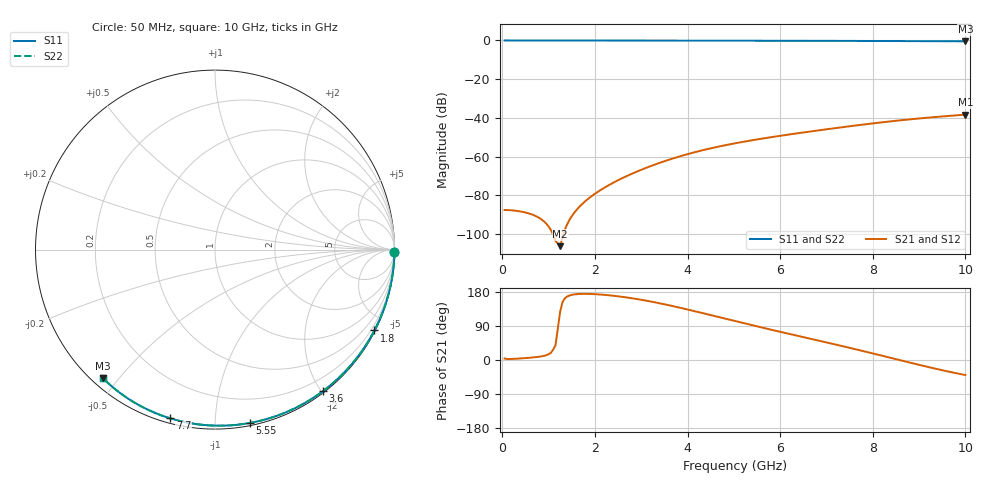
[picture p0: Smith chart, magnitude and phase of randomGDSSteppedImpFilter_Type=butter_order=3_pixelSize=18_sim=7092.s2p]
! freq	dB(S11)	phase(S11)	dB(S12)	phase(S12)
!  dB(S21)	phase(S21)	dB(S22)	phase(S22)
!S-par simulation data
#  GHz  S  DB  R 50
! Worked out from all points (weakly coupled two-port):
!   200 points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, 50 MHz to 10 GHz, reference 50 ohm
!   highest |S21| = -38.34 dB at 10 GHz (marker M1); lowest = -106.4 dB at 1.25 GHz (marker M2)
!   lowest |S11| = -0.4 dB at 10 GHz (marker M3), VSWR 39.19, Z = 1.54 - j22.7 ohm
!   |S11| at or under -10 dB: nowhere
!   |S22| runs from -0.4 to 0.0 dB; largest |S21 - S12| = 0
!   S11 on the Smith chart (normalised r, x): 50 MHz: open; 1.8 GHz: 0.04, -4.18; 3.6 GHz: 0.02, -2.02; 5.55 GHz: 0.02, -1.22; 7.7 GHz: 0.02, -0.77; 10 GHz: 0.03, -0.45
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0.05  -0.00 -0.8  -87.66 4.0  -87.66 4.0  -0.00 -0.8
0.65  -0.01 -9.8  -90.05 6.6  -90.05 6.6  -0.01 -9.8
1.25  -0.02 -18.8  -106.35 128.2  -106.35 128.2  -0.02 -18.8
1.75  -0.03 -26.1  -84.01 174.6  -84.01 174.6  -0.03 -26.1
1.8  -0.03 -26.9  -82.94 174.6  -82.94 174.6  -0.03 -26.9
1.95  -0.04 -29.1  -80.12 174.1  -80.12 174.1  -0.04 -29.1
2.25  -0.04 -33.4  -75.48 171.4  -75.48 171.4  -0.04 -33.4
2.55  -0.05 -37.8  -71.66 167.3  -71.66 167.3  -0.05 -37.8
2.95  -0.06 -43.5  -67.35 160.0  -67.35 160.0  -0.06 -43.5
3.4  -0.07 -49.8  -63.26 149.6  -63.26 149.6  -0.07 -49.8
3.6  -0.07 -52.6  -61.65 144.5  -61.65 144.5  -0.07 -52.6
3.9  -0.08 -56.7  -59.46 136.2  -59.46 136.2  -0.08 -56.7
4.3  -0.09 -62.1  -56.91 124.5  -56.91 124.5  -0.09 -62.1
4.65  -0.10 -66.8  -54.98 113.9  -54.98 113.9  -0.10 -66.8
5.05  -0.11 -72.1  -53.06 101.9  -53.06 101.9  -0.11 -72.1
5.55  -0.13 -78.5  -50.97 87.2  -50.97 87.2  -0.13 -78.5
6.1  -0.15 -85.5  -48.94 71.6  -48.94 71.6  -0.15 -85.5
6.7  -0.18 -92.9  -46.90 54.8  -46.90 54.8  -0.18 -92.9
7.7  -0.24 -104.8  -43.75 26.3  -43.75 26.3  -0.24 -104.8
8.35  -0.29 -112.4  -41.91 6.8  -41.91 6.8  -0.29 -112.4
9.15  -0.36 -121.6  -40.00 -17.2  -40.00 -17.2  -0.36 -121.6
10  -0.44 -131.2  -38.34 -39.7  -38.34 -39.7  -0.44 -131.2
